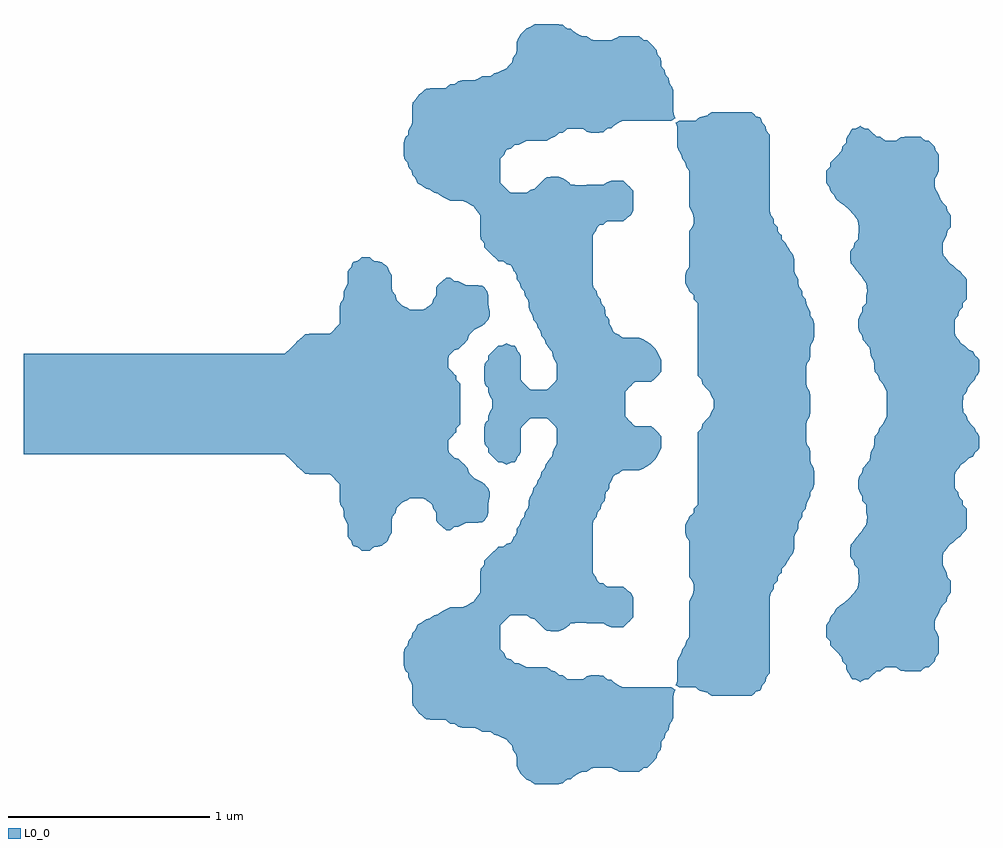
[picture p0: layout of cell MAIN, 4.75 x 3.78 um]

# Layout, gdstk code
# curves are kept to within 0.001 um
import gdstk
lib = gdstk.Library(unit=1e-6, precision=1e-09)
def R(c, l, rs):  # rectangles x0, y0, x1, y1
    for r in rs: c.add(gdstk.rectangle(r[:2], r[2:], *l))
def P(c, l, *ps):  # polygons
    for p in ps: c.add(gdstk.Polygon(p, *l))
L0_0 = (0, 0)

main_y = lib.new_cell('MAIN_Y')
R(main_y, L0_0, [(-3.125,0,-2.125,0.25)])
P(main_y, L0_0, [(-0.135,0.06),(-0.117,0.08),(-0.085,0.11),(-0.005,0.11),(0.026,0.14),(0.044,0.16),(0.045,0.18),(0.045,0.22),(0.025,0.26),(0.015,0.276),(-0.009,0.3),(-0.045,0.323),(-0.065,0.33),(-0.145,0.33),(-0.165,0.344),(-0.185,0.351),(-0.194,0.36),(-0.201,0.38),(-0.215,0.4),(-0.215,0.42),(-0.231,0.44),(-0.235,0.46),(-0.236,0.48),(-0.255,0.5),(-0.256,0.52),(-0.275,0.54),(-0.276,0.56),(-0.294,0.58),(-0.295,0.84),(-0.28,0.86),(-0.274,0.88),(-0.265,0.889),(-0.245,0.892),(-0.225,0.91),(-0.145,0.91),(-0.105,0.942),(-0.095,0.96),(-0.095,1.06),(-0.113,1.08),(-0.575,1.08),(-0.585,1.07),(-0.605,1.066),(-0.625,1.05),(-0.705,1.05),(-0.736,1.08),(-1.14,1.08),(-1.125,1.07),(-1.105,1.065),(-1.085,1.05),(-1.065,1.045),(-1.045,1.03),(-1.005,1.01),(-0.945,1.01),(-0.925,1.004),(-0.905,0.99),(-0.886,0.98),(-0.874,0.96),(-0.855,0.94),(-0.855,0.84),(-0.853,0.82),(-0.836,0.8),(-0.835,0.78),(-0.796,0.74),(-0.765,0.711),(-0.745,0.71),(-0.725,0.695),(-0.705,0.689),(-0.696,0.68),(-0.688,0.66),(-0.675,0.64),(-0.675,0.62),(-0.658,0.6),(-0.655,0.58),(-0.637,0.56),(-0.635,0.54),(-0.619,0.52),(-0.615,0.5),(-0.615,0.48),(-0.608,0.46),(-0.595,0.44),(-0.593,0.42),(-0.575,0.4),(-0.57,0.38),(-0.555,0.36),(-0.552,0.34),(-0.535,0.32),(-0.53,0.3),(-0.515,0.28),(-0.497,0.26),(-0.495,0.24),(-0.488,0.22),(-0.475,0.2),(-0.475,0.12),(-0.485,0.107),(-0.512,0.08),(-0.525,0.07),(-0.605,0.07),(-0.637,0.1),(-0.655,0.12),(-0.655,0.24),(-0.668,0.26),(-0.676,0.28),(-0.685,0.289),(-0.705,0.292),(-0.725,0.302),(-0.745,0.292),(-0.765,0.29),(-0.815,0.24),(-0.817,0.22),(-0.834,0.2),(-0.834,0.1),(-0.816,0.08),(-0.815,0.06),(-0.809,0.04),(-0.795,0.02),(-0.795,0),(-0.135,0)],
  [(-0.745,1.089),(-0.755,1.1),(-0.755,1.22),(-0.737,1.24),(-0.73,1.26),(-0.725,1.265),(-0.705,1.27),(-0.685,1.29),(-0.665,1.29),(-0.625,1.31),(-0.525,1.31),(-0.505,1.323),(-0.485,1.33),(-0.465,1.347),(-0.445,1.35),(-0.425,1.367),(-0.405,1.37),(-0.345,1.369),(-0.325,1.355),(-0.305,1.35),(-0.245,1.351),(-0.225,1.369),(-0.205,1.371),(-0.185,1.39),(-0.145,1.41),(0.095,1.41),(0.114,1.42),(0.107,1.44),(0.105,1.46),(0.105,1.56),(0.085,1.6),(0.082,1.62),(0.065,1.64),(0.063,1.66),(0.045,1.68),(0.045,1.7),(0.041,1.72),(0.025,1.74),(0.022,1.76),(0.005,1.78),(-0.025,1.81),(-0.045,1.812),(-0.065,1.83),(-0.165,1.83),(-0.205,1.81),(-0.285,1.81),(-0.305,1.814),(-0.311,1.82),(-0.325,1.829),(-0.345,1.83),(-0.365,1.836),(-0.398,1.86),(-0.405,1.867),(-0.425,1.87),(-0.445,1.886),(-0.465,1.89),(-0.585,1.89),(-0.605,1.876),(-0.625,1.87),(-0.655,1.84),(-0.667,1.82),(-0.675,1.8),(-0.675,1.76),(-0.679,1.74),(-0.695,1.72),(-0.697,1.7),(-0.725,1.671),(-0.765,1.65),(-0.785,1.646),(-0.805,1.63),(-0.845,1.63),(-0.865,1.618),(-0.885,1.61),(-0.945,1.61),(-0.965,1.606),(-0.985,1.59),(-1.005,1.59),(-1.025,1.573),(-1.045,1.57),(-1.105,1.57),(-1.125,1.568),(-1.145,1.55),(-1.159,1.54),(-1.191,1.5),(-1.195,1.48),(-1.195,1.4),(-1.201,1.38),(-1.215,1.36),(-1.215,1.34),(-1.232,1.32),(-1.235,1.3),(-1.234,1.22),(-1.217,1.2),(-1.215,1.18),(-1.197,1.16),(-1.195,1.14),(-1.176,1.12),(-1.169,1.1),(-1.165,1.096),(-1.145,1.085),(-1.14,1.08),(-0.736,1.08)],
  [(-0.125,1.091),(-0.145,1.11),(-0.205,1.11),(-0.225,1.104),(-0.229,1.1),(-0.245,1.091),(-0.325,1.09),(-0.345,1.087),(-0.405,1.091),(-0.425,1.11),(-0.445,1.124),(-0.465,1.13),(-0.505,1.13),(-0.525,1.129),(-0.575,1.08),(-0.113,1.08)],
  [(0.785,0.04),(0.784,0.06),(0.77,0.08),(0.765,0.1),(0.765,0.18),(0.767,0.2),(0.783,0.22),(0.785,0.24),(0.785,0.28),(0.79,0.3),(0.795,0.305),(0.804,0.32),(0.805,0.4),(0.8,0.42),(0.785,0.44),(0.785,0.46),(0.765,0.5),(0.763,0.52),(0.745,0.54),(0.745,0.56),(0.731,0.58),(0.725,0.6),(0.725,0.62),(0.705,0.66),(0.705,0.72),(0.702,0.74),(0.685,0.76),(0.673,0.78),(0.665,0.8),(0.645,0.82),(0.643,0.84),(0.625,0.86),(0.624,0.88),(0.605,0.9),(0.605,0.92),(0.589,0.94),(0.585,0.96),(0.584,1.34),(0.566,1.36),(0.565,1.38),(0.546,1.4),(0.54,1.42),(0.535,1.425),(0.515,1.432),(0.495,1.45),(0.295,1.45),(0.275,1.437),(0.255,1.43),(0.235,1.426),(0.215,1.41),(0.135,1.41),(0.116,1.4),(0.123,1.38),(0.125,1.36),(0.125,1.28),(0.131,1.26),(0.145,1.24),(0.149,1.22),(0.165,1.2),(0.168,1.18),(0.185,1.16),(0.185,0.98),(0.204,0.94),(0.205,0.9),(0.198,0.88),(0.185,0.86),(0.184,0.68),(0.168,0.66),(0.165,0.64),(0.165,0.6),(0.185,0.56),(0.205,0.54),(0.207,0.52),(0.225,0.5),(0.225,0.16),(0.227,0.14),(0.245,0.12),(0.248,0.1),(0.265,0.08),(0.285,0.06),(0.292,0.04),(0.305,0.02),(0.305,0),(0.785,0)],
  [(1.546,0.04),(1.565,0.06),(1.569,0.08),(1.585,0.1),(1.605,0.12),(1.611,0.14),(1.625,0.16),(1.625,0.22),(1.607,0.24),(1.597,0.26),(1.575,0.27),(1.555,0.29),(1.538,0.3),(1.524,0.32),(1.506,0.34),(1.505,0.42),(1.522,0.44),(1.525,0.46),(1.544,0.48),(1.545,0.5),(1.563,0.52),(1.565,0.54),(1.565,0.62),(1.531,0.66),(1.515,0.67),(1.495,0.689),(1.475,0.705),(1.465,0.72),(1.447,0.74),(1.445,0.76),(1.445,0.8),(1.465,0.84),(1.466,0.86),(1.484,0.88),(1.485,0.92),(1.484,0.94),(1.466,0.96),(1.465,0.98),(1.445,1),(1.432,1.02),(1.425,1.04),(1.413,1.06),(1.405,1.08),(1.406,1.12),(1.418,1.14),(1.425,1.16),(1.425,1.24),(1.41,1.26),(1.405,1.28),(1.375,1.31),(1.355,1.312),(1.335,1.329),(1.255,1.33),(1.235,1.327),(1.215,1.311),(1.175,1.31),(1.155,1.312),(1.135,1.33),(1.115,1.332),(1.075,1.37),(1.055,1.372),(1.035,1.383),(1.015,1.372),(0.995,1.369),(0.986,1.36),(0.978,1.34),(0.965,1.32),(0.964,1.3),(0.945,1.28),(0.943,1.26),(0.886,1.2),(0.884,1.18),(0.866,1.16),(0.865,1.1),(0.88,1.08),(0.885,1.06),(0.903,1.04),(0.913,1.02),(0.935,1),(0.955,0.988),(1.005,0.94),(1.019,0.92),(1.025,0.9),(1.028,0.86),(1.025,0.84),(1.025,0.82),(1.005,0.8),(1.002,0.78),(0.985,0.76),(0.985,0.72),(0.987,0.7),(1.005,0.68),(1.015,0.665),(1.036,0.64),(1.048,0.62),(1.065,0.6),(1.068,0.56),(1.065,0.54),(1.064,0.5),(1.045,0.48),(1.045,0.46),(1.031,0.44),(1.025,0.42),(1.025,0.38),(1.029,0.36),(1.045,0.34),(1.047,0.32),(1.081,0.28),(1.085,0.26),(1.086,0.24),(1.095,0.224),(1.099,0.22),(1.105,0.2),(1.107,0.16),(1.125,0.14),(1.13,0.12),(1.135,0.115),(1.157,0.08),(1.165,0.06),(1.165,0),(1.544,0)],
  [(-0.955,0.08),(-0.956,0.1),(-0.974,0.12),(-0.976,0.14),(-1.015,0.18),(-1.015,0.22),(-1.013,0.24),(-0.985,0.268),(-0.965,0.272),(-0.936,0.3),(-0.918,0.32),(-0.914,0.34),(-0.885,0.37),(-0.845,0.39),(-0.815,0.42),(-0.809,0.44),(-0.808,0.46),(-0.814,0.48),(-0.815,0.54),(-0.82,0.56),(-0.845,0.588),(-0.865,0.59),(-0.925,0.59),(-0.965,0.61),(-0.985,0.611),(-1.005,0.628),(-1.025,0.629),(-1.057,0.6),(-1.075,0.58),(-1.075,0.54),(-1.09,0.52),(-1.095,0.5),(-1.105,0.49),(-1.125,0.477),(-1.145,0.47),(-1.205,0.47),(-1.225,0.482),(-1.245,0.49),(-1.274,0.52),(-1.276,0.54),(-1.294,0.56),(-1.295,0.64),(-1.309,0.66),(-1.315,0.68),(-1.325,0.69),(-1.345,0.705),(-1.365,0.71),(-1.385,0.712),(-1.405,0.729),(-1.445,0.729),(-1.465,0.712),(-1.485,0.708),(-1.493,0.7),(-1.497,0.68),(-1.515,0.66),(-1.515,0.6),(-1.535,0.56),(-1.537,0.52),(-1.553,0.5),(-1.555,0.48),(-1.555,0.4),(-1.585,0.368),(-1.605,0.35),(-1.705,0.35),(-1.725,0.348),(-1.756,0.32),(-1.805,0.27),(-1.825,0.252),(-1.845,0.25),(-2.125,0.25),(-2.125,0),(-0.955,0)])

main = lib.new_cell('MAIN')
main.add(gdstk.Reference(main_y, (0,0)))
main.add(gdstk.Reference(main_y, (0,0), x_reflection=True))

lib.write_gds('MAIN.gds')
